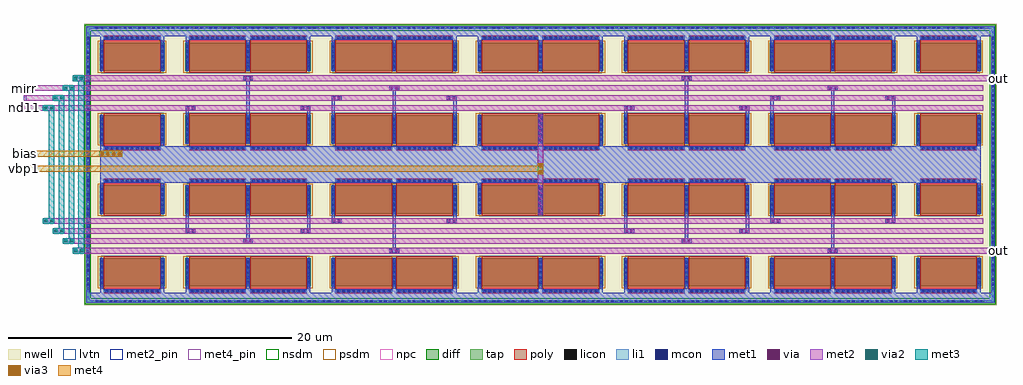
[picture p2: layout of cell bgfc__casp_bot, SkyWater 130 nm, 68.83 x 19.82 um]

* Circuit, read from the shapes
.subckt bgfc__casp_bot bias mirr nd10 nd11 out vbp1
XM1 n1 n1 n1 n1 sky130_fd_pr__pfet_01v8_lvt w=2 l=4 m=24
XM2 bias bias bias n1 sky130_fd_pr__pfet_01v8_lvt w=2 l=4 m=4
XM3 mirr bias nd10 n1 sky130_fd_pr__pfet_01v8_lvt w=2 l=4 m=8
XM4 out bias nd11 n1 sky130_fd_pr__pfet_01v8_lvt w=2 l=4 m=8
XM5 vbp1 bias bias n1 sky130_fd_pr__pfet_01v8_lvt w=2 l=4 m=4
.ends

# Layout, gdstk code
from math import pi, radians
import gdstk
lib = gdstk.Library(unit=1e-6, precision=1e-09)
def R(c, l, rs):  # rectangles x0, y0, x1, y1
    for r in rs: c.add(gdstk.rectangle(r[:2], r[2:], *l))
def A(c, l, x, y, w, h, nx, ny, dx, dy):  # array of equal rectangles
    R(c, l, [(x+i*dx, y+j*dy, x+i*dx+w, y+j*dy+h) for i in range(nx) for j in range(ny)])
nwell = (64, 20)
diff = (65, 20)
tap = (65, 44)
poly = (66, 20)
licon = (66, 44)
li1 = (67, 20)
mcon = (67, 44)
met1 = (68, 20)
via = (68, 44)
met2_pin = (69, 16)
met2 = (69, 20)
via2 = (69, 44)
met3 = (70, 20)
via3 = (70, 44)
met4_pin = (71, 16)
met4 = (71, 20)
nsdm = (93, 44)
psdm = (94, 20)
npc = (95, 20)
lvtn = (125, 44)

via__li_m1 = lib.new_cell('via__LI_M1')
R(via__li_m1, li1, [(0.03,0.03,0.56,0.2)])
R(via__li_m1, mcon, [(0.03,0.03,0.2,0.2), (0.39,0.03,0.56,0.2)])
R(via__li_m1, met1, [(0,0,0.59,0.23)])

bgfccpb__dum = lib.new_cell('bgfccpb__DUM')
R(bgfccpb__dum, nwell, [(-2.47,-1.49,2.47,1.32)])
R(bgfccpb__dum, diff, [(-2.29,-1.18,2.29,0.82)])
R(bgfccpb__dum, poly, [(-2,-1.31,2,1.305)])
A(bgfccpb__dum, licon, -2.23, -1.115, 0.17, 0.17, 1, 6, 0, 0.34)
A(bgfccpb__dum, licon, 2.06, -1.115, 0.17, 0.17, 1, 6, 0, 0.34)
A(bgfccpb__dum, licon, -1.785, 1.055, 0.17, 0.17, 11, 1, 0.34, 0)
R(bgfccpb__dum, li1, [(-2.23,-1.2,-2.06,0.84), (2.06,-1.2,2.23,0.84), (-2,1.055,2,1.225)])
A(bgfccpb__dum, mcon, -2.23, -0.985, 0.17, 0.17, 1, 5, 0, 0.36)
A(bgfccpb__dum, mcon, 2.06, -0.985, 0.17, 0.17, 1, 5, 0, 0.36)
A(bgfccpb__dum, mcon, -1.885, 1.055, 0.17, 0.17, 11, 1, 0.36, 0)
R(bgfccpb__dum, met1, [(-2.26,-1.18,-2.03,0.82), (2.03,-1.18,2.26,0.82), (-1.98,1.025,1.98,1.255)])
R(bgfccpb__dum, psdm, [(-2.415,-1.305,2.415,0.945)])
R(bgfccpb__dum, npc, [(-1.885,0.955,1.885,1.325)])
R(bgfccpb__dum, lvtn, [(-2.18,-1.36,2.18,1)])

via__m2_m3 = lib.new_cell('via__M2_M3')
R(via__m2_m3, met2, [(0,0,0.8,0.4)])
R(via__m2_m3, via2, [(0.1,0.1,0.3,0.3), (0.5,0.1,0.7,0.3)])
R(via__m2_m3, met3, [(0,0,0.8,0.4)])

via__m1_m2 = lib.new_cell('via__M1_M2')
R(via__m1_m2, met1, [(0,0.05,0.7,0.35)])
R(via__m1_m2, via, [(0.115,0.125,0.265,0.275), (0.435,0.125,0.585,0.275)])
R(via__m1_m2, met2, [(0.05,0,0.65,0.4)])

bgfccpb__m8 = lib.new_cell('bgfccpb__M8')
R(bgfccpb__m8, nwell, [(-2.47,-1.49,2.47,1.32)])
R(bgfccpb__m8, diff, [(-2.29,-1.18,2.29,0.82)])
R(bgfccpb__m8, poly, [(-2,-1.31,2,1.305)])
A(bgfccpb__m8, licon, -2.23, -1.115, 0.17, 0.17, 1, 6, 0, 0.34)
A(bgfccpb__m8, licon, 2.06, -1.115, 0.17, 0.17, 1, 6, 0, 0.34)
A(bgfccpb__m8, licon, -1.785, 1.055, 0.17, 0.17, 11, 1, 0.34, 0)
R(bgfccpb__m8, li1, [(-2.23,-1.2,-2.06,0.84), (2.06,-1.2,2.23,0.84), (-2,1.055,2,1.225)])
A(bgfccpb__m8, mcon, -2.23, -0.985, 0.17, 0.17, 1, 5, 0, 0.36)
A(bgfccpb__m8, mcon, 2.06, -0.985, 0.17, 0.17, 1, 5, 0, 0.36)
A(bgfccpb__m8, mcon, -1.885, 1.055, 0.17, 0.17, 11, 1, 0.36, 0)
R(bgfccpb__m8, met1, [(-2.26,-1.18,-2.03,0.82), (2.03,-1.18,2.26,0.82), (-1.98,1.025,1.98,1.255)])
R(bgfccpb__m8, psdm, [(-2.415,-1.305,2.415,0.945)])
R(bgfccpb__m8, npc, [(-1.885,0.955,1.885,1.325)])
R(bgfccpb__m8, lvtn, [(-2.18,-1.36,2.18,1)])

bgfccpb__m9 = lib.new_cell('bgfccpb__M9')
R(bgfccpb__m9, nwell, [(-2.47,-1.49,2.47,1.32)])
R(bgfccpb__m9, diff, [(-2.29,-1.18,2.29,0.82)])
R(bgfccpb__m9, poly, [(-2,-1.31,2,1.305)])
A(bgfccpb__m9, licon, -2.23, -1.115, 0.17, 0.17, 1, 6, 0, 0.34)
A(bgfccpb__m9, licon, 2.06, -1.115, 0.17, 0.17, 1, 6, 0, 0.34)
A(bgfccpb__m9, licon, -1.785, 1.055, 0.17, 0.17, 11, 1, 0.34, 0)
R(bgfccpb__m9, li1, [(-2.23,-1.2,-2.06,0.84), (2.06,-1.2,2.23,0.84), (-2,1.055,2,1.225)])
A(bgfccpb__m9, mcon, -2.23, -0.985, 0.17, 0.17, 1, 5, 0, 0.36)
A(bgfccpb__m9, mcon, 2.06, -0.985, 0.17, 0.17, 1, 5, 0, 0.36)
A(bgfccpb__m9, mcon, -1.885, 1.055, 0.17, 0.17, 11, 1, 0.36, 0)
R(bgfccpb__m9, met1, [(-2.26,-1.18,-2.03,0.82), (2.03,-1.18,2.26,0.82), (-1.98,1.025,1.98,1.255)])
R(bgfccpb__m9, psdm, [(-2.415,-1.305,2.415,0.945)])
R(bgfccpb__m9, npc, [(-1.885,0.955,1.885,1.325)])
R(bgfccpb__m9, lvtn, [(-2.18,-1.36,2.18,1)])

bgfccpb__mb1 = lib.new_cell('bgfccpb__MB1')
R(bgfccpb__mb1, nwell, [(-2.47,-1.49,2.47,1.32)])
R(bgfccpb__mb1, diff, [(-2.29,-1.18,2.29,0.82)])
R(bgfccpb__mb1, poly, [(-2,-1.31,2,1.305)])
A(bgfccpb__mb1, licon, -2.23, -1.115, 0.17, 0.17, 1, 6, 0, 0.34)
A(bgfccpb__mb1, licon, 2.06, -1.115, 0.17, 0.17, 1, 6, 0, 0.34)
A(bgfccpb__mb1, licon, -1.785, 1.055, 0.17, 0.17, 11, 1, 0.34, 0)
R(bgfccpb__mb1, li1, [(-2.23,-1.2,-2.06,0.84), (2.06,-1.2,2.23,0.84), (-2,1.055,2,1.225)])
A(bgfccpb__mb1, mcon, -2.23, -0.985, 0.17, 0.17, 1, 5, 0, 0.36)
A(bgfccpb__mb1, mcon, 2.06, -0.985, 0.17, 0.17, 1, 5, 0, 0.36)
A(bgfccpb__mb1, mcon, -1.885, 1.055, 0.17, 0.17, 11, 1, 0.36, 0)
R(bgfccpb__mb1, met1, [(-2.26,-1.18,-2.03,0.82), (2.03,-1.18,2.26,0.82), (-1.98,1.025,1.98,1.255)])
R(bgfccpb__mb1, psdm, [(-2.415,-1.305,2.415,0.945)])
R(bgfccpb__mb1, npc, [(-1.885,0.955,1.885,1.325)])
R(bgfccpb__mb1, lvtn, [(-2.18,-1.36,2.18,1)])

via__m3_m4 = lib.new_cell('via__M3_M4')
R(via__m3_m4, met3, [(0,0,0.8,0.4)])
R(via__m3_m4, via3, [(0.1,0.1,0.3,0.3), (0.5,0.1,0.7,0.3)])
R(via__m3_m4, met4, [(0,0,0.8,0.4)])

bgfccpb__guardring_p = lib.new_cell('bgfccpb__Guardring_P')
R(bgfccpb__guardring_p, nwell, [(2.14,-0.065,66.49,19.76)])
R(bgfccpb__guardring_p, tap, [(2.32,0.115,66.31,0.285), (2.32,0.285,2.49,19.41), (66.14,0.285,66.31,19.41), (2.32,19.41,66.31,19.58)])
A(bgfccpb__guardring_p, licon, 3.22, 0.115, 0.17, 0.17, 184, 1, 0.34, 0)
A(bgfccpb__guardring_p, licon, 2.32, 1.03, 0.17, 0.17, 1, 53, 0, 0.34)
A(bgfccpb__guardring_p, licon, 66.14, 1.03, 0.17, 0.17, 1, 53, 0, 0.34)
A(bgfccpb__guardring_p, licon, 2.88, 19.41, 0.17, 0.17, 185, 1, 0.34, 0)
R(bgfccpb__guardring_p, li1, [(2.32,0.115,66.31,0.285), (2.32,0.285,2.49,19.41), (66.14,0.285,66.31,19.41), (2.32,19.41,66.31,19.58)])
R(bgfccpb__guardring_p, nsdm, [(2.195,-0.01,66.435,0.41), (2.195,0.41,2.615,19.285), (66.015,0.41,66.435,19.285), (2.195,19.285,66.435,19.705)])

bgfc__casp_bot = lib.new_cell('bgfc__casp_bot')
A(bgfc__casp_bot, met1, 13.415, 0.815, 0.56, 0.23, 5, 2, 10.31, 17.835)
A(bgfc__casp_bot, met1, 9.29, 1.045, 0.23, 0.32, 3, 2, 4.29, 17.285)
A(bgfc__casp_bot, met1, 19.6, 1.045, 0.23, 0.32, 3, 2, 4.29, 17.285)
A(bgfc__casp_bot, met1, 29.91, 1.045, 0.23, 0.32, 3, 2, 4.29, 17.285)
A(bgfc__casp_bot, met1, 40.22, 1.045, 0.23, 0.32, 3, 2, 4.29, 17.285)
A(bgfc__casp_bot, met1, 50.53, 1.045, 0.23, 0.32, 3, 2, 4.29, 17.285)
R(bgfc__casp_bot, met1, [(2.29,0.085,66.34,0.815), (2.29,0.815,2.52,18.88), (3.27,0.815,3.665,1.045), (7.395,0.815,7.79,1.045), (9.29,0.815,9.685,1.045), (17.705,0.815,18.1,1.045), (19.6,0.815,19.995,1.045), (28.015,0.815,28.41,1.045), (29.91,0.815,30.305,1.045), (38.325,0.815,38.72,1.045), (40.22,0.815,40.615,1.045), (48.635,0.815,49.03,1.045), (50.53,0.815,50.925,1.045), (58.945,0.815,59.34,1.045), (60.84,0.815,61.235,1.045), (64.965,0.815,65.36,1.045), (66.11,0.815,66.34,18.88), (3.27,1.045,3.5,1.365), (7.56,1.045,7.79,1.365), (60.84,1.045,61.07,1.365), (65.13,1.045,65.36,1.365), (23.89,3.61,24.12,6.605), (54.82,3.61,55.05,6.605), (13.58,4.31,13.81,6.605), (44.51,4.31,44.74,6.605), (9.29,5.01,9.52,6.605), (17.87,5.01,18.1,6.605), (40.22,5.01,40.45,6.605), (48.8,5.01,49.03,6.605), (19.6,5.71,19.83,6.605), (28.18,5.71,28.41,6.605), (50.53,5.71,50.76,6.605), (59.11,5.71,59.34,6.605), (3.27,8.255,3.5,8.575), (7.56,8.255,7.79,8.575), (29.91,8.255,30.14,8.575), (38.49,8.255,38.72,8.575), (60.84,8.255,61.07,8.575), (65.13,8.255,65.36,8.575), (3.27,8.575,65.36,11.12), (3.27,11.12,3.5,11.44), (7.56,11.12,7.79,11.44), (29.91,11.12,30.14,11.44), (38.49,11.12,38.72,11.44), (60.84,11.12,61.07,11.44), (65.13,11.12,65.36,11.44), (9.29,13.09,9.52,13.985), (13.58,13.09,13.81,16.085), (17.87,13.09,18.1,13.985), (19.6,13.09,19.83,14.685), (23.89,13.09,24.12,15.385), (28.18,13.09,28.41,14.685), (40.22,13.09,40.45,13.985), (44.51,13.09,44.74,16.085), (48.8,13.09,49.03,13.985), (50.53,13.09,50.76,14.685), (54.82,13.09,55.05,15.385), (59.11,13.09,59.34,14.685), (3.27,18.33,3.5,18.65), (7.56,18.33,7.79,18.65), (60.84,18.33,61.07,18.65), (65.13,18.33,65.36,18.65), (3.27,18.65,3.665,18.88), (7.395,18.65,7.79,18.88), (9.29,18.65,9.685,18.88), (17.705,18.65,18.1,18.88), (19.6,18.65,19.995,18.88), (28.015,18.65,28.41,18.88), (29.91,18.65,30.305,18.88), (38.325,18.65,38.72,18.88), (40.22,18.65,40.615,18.88), (48.635,18.65,49.03,18.88), (50.53,18.65,50.925,18.88), (58.945,18.65,59.34,18.88), (60.84,18.65,61.235,18.88), (64.965,18.65,65.36,18.88), (2.29,18.88,66.34,19.61)])
A(bgfc__casp_bot, met2_pin, -2.135, 13.635, 0.2, 0.4, 1, 3, 0, 0.7)
R(bgfc__casp_bot, met2_pin, [(66.49,3.56,66.69,3.96), (66.49,15.735,66.69,16.135)])
A(bgfc__casp_bot, met2, -2.135, 13.635, 67.68, 0.4, 1, 3, 0, 0.7)
R(bgfc__casp_bot, met2, [(1.34,3.56,66.69,3.96), (0.64,4.26,65.545,4.66), (-0.06,4.96,65.545,5.36), (-0.76,5.66,65.545,6.06), (34.115,6.32,34.515,13.375), (3.32,10.4,4.62,10.8), (1.34,15.735,66.69,16.135)])
R(bgfc__casp_bot, met3, [(1.74,3.56,2.14,15.735), (1.04,4.26,1.44,15.035), (0.34,4.96,0.74,14.335), (-0.36,5.66,0.04,13.635)])
R(bgfc__casp_bot, met4_pin, [(-2.135,9.35,-1.935,9.75), (-2.135,10.4,-1.935,10.8)])
R(bgfc__casp_bot, met4, [(-2.135,9.35,34.515,9.75), (-2.135,10.4,3.92,10.8)])
bgfc__casp_bot.add(gdstk.Reference(via__li_m1, (3.925,0.085)))
bgfc__casp_bot.add(gdstk.Reference(via__li_m1, (2.925,0.085)))
bgfc__casp_bot.add(gdstk.Reference(via__li_m1, (2.29,1.84), rotation=3*pi/2))
bgfc__casp_bot.add(gdstk.Reference(via__li_m1, (2.29,2.84), rotation=3*pi/2))
bgfc__casp_bot.add(gdstk.Reference(bgfccpb__dum, (5.53,2.07), rotation=pi))
bgfc__casp_bot.add(gdstk.Reference(via__li_m1, (5.925,0.085)))
bgfc__casp_bot.add(gdstk.Reference(via__li_m1, (4.925,0.085)))
bgfc__casp_bot.add(gdstk.Reference(via__li_m1, (8.925,0.085)))
bgfc__casp_bot.add(gdstk.Reference(via__li_m1, (7.925,0.085)))
bgfc__casp_bot.add(gdstk.Reference(via__li_m1, (6.925,0.085)))
bgfc__casp_bot.add(gdstk.Reference(bgfccpb__dum, (11.55,2.07), rotation=pi))
bgfc__casp_bot.add(gdstk.Reference(via__li_m1, (12.925,0.085)))
bgfc__casp_bot.add(gdstk.Reference(via__li_m1, (11.925,0.085)))
bgfc__casp_bot.add(gdstk.Reference(via__li_m1, (13.925,0.085)))
bgfc__casp_bot.add(gdstk.Reference(via__li_m1, (10.925,0.085)))
bgfc__casp_bot.add(gdstk.Reference(via__li_m1, (9.925,0.085)))
bgfc__casp_bot.add(gdstk.Reference(bgfccpb__dum, (15.84,2.07), rotation=pi))
bgfc__casp_bot.add(gdstk.Reference(via__li_m1, (18.925,0.085)))
bgfc__casp_bot.add(gdstk.Reference(via__li_m1, (17.925,0.085)))
bgfc__casp_bot.add(gdstk.Reference(via__li_m1, (16.925,0.085)))
bgfc__casp_bot.add(gdstk.Reference(via__li_m1, (15.925,0.085)))
bgfc__casp_bot.add(gdstk.Reference(via__li_m1, (14.925,0.085)))
bgfc__casp_bot.add(gdstk.Reference(via__li_m1, (23.925,0.085)))
bgfc__casp_bot.add(gdstk.Reference(via__li_m1, (22.925,0.085)))
bgfc__casp_bot.add(gdstk.Reference(via__li_m1, (21.925,0.085)))
bgfc__casp_bot.add(gdstk.Reference(via__li_m1, (20.925,0.085)))
bgfc__casp_bot.add(gdstk.Reference(via__li_m1, (19.925,0.085)))
bgfc__casp_bot.add(gdstk.Reference(bgfccpb__dum, (26.15,2.07), rotation=pi))
bgfc__casp_bot.add(gdstk.Reference(bgfccpb__dum, (21.86,2.07), rotation=pi))
bgfc__casp_bot.add(gdstk.Reference(via__li_m1, (28.925,0.085)))
bgfc__casp_bot.add(gdstk.Reference(via__li_m1, (27.925,0.085)))
bgfc__casp_bot.add(gdstk.Reference(via__li_m1, (26.925,0.085)))
bgfc__casp_bot.add(gdstk.Reference(via__li_m1, (25.925,0.085)))
bgfc__casp_bot.add(gdstk.Reference(via__li_m1, (24.925,0.085)))
bgfc__casp_bot.add(gdstk.Reference(via__li_m1, (31.925,0.085)))
bgfc__casp_bot.add(gdstk.Reference(via__li_m1, (30.925,0.085)))
bgfc__casp_bot.add(gdstk.Reference(via__li_m1, (29.925,0.085)))
bgfc__casp_bot.add(gdstk.Reference(via__li_m1, (32.925,0.085)))
bgfc__casp_bot.add(gdstk.Reference(bgfccpb__dum, (32.17,2.07), rotation=pi))
bgfc__casp_bot.add(gdstk.Reference(via__li_m1, (37.925,0.085)))
bgfc__casp_bot.add(gdstk.Reference(via__li_m1, (36.925,0.085)))
bgfc__casp_bot.add(gdstk.Reference(via__li_m1, (35.925,0.085)))
bgfc__casp_bot.add(gdstk.Reference(via__li_m1, (34.925,0.085)))
bgfc__casp_bot.add(gdstk.Reference(via__li_m1, (33.925,0.085)))
bgfc__casp_bot.add(gdstk.Reference(bgfccpb__dum, (36.46,2.07), rotation=pi))
bgfc__casp_bot.add(gdstk.Reference(via__li_m1, (42.925,0.085)))
bgfc__casp_bot.add(gdstk.Reference(via__li_m1, (41.925,0.085)))
bgfc__casp_bot.add(gdstk.Reference(via__li_m1, (40.925,0.085)))
bgfc__casp_bot.add(gdstk.Reference(via__li_m1, (39.925,0.085)))
bgfc__casp_bot.add(gdstk.Reference(via__li_m1, (38.925,0.085)))
bgfc__casp_bot.add(gdstk.Reference(bgfccpb__dum, (42.48,2.07), rotation=pi))
bgfc__casp_bot.add(gdstk.Reference(via__li_m1, (47.925,0.085)))
bgfc__casp_bot.add(gdstk.Reference(via__li_m1, (46.925,0.085)))
bgfc__casp_bot.add(gdstk.Reference(via__li_m1, (45.925,0.085)))
bgfc__casp_bot.add(gdstk.Reference(via__li_m1, (44.925,0.085)))
bgfc__casp_bot.add(gdstk.Reference(via__li_m1, (43.925,0.085)))
bgfc__casp_bot.add(gdstk.Reference(bgfccpb__dum, (46.77,2.07), rotation=pi))
bgfc__casp_bot.add(gdstk.Reference(via__li_m1, (52.925,0.085)))
bgfc__casp_bot.add(gdstk.Reference(via__li_m1, (51.925,0.085)))
bgfc__casp_bot.add(gdstk.Reference(via__li_m1, (50.925,0.085)))
bgfc__casp_bot.add(gdstk.Reference(via__li_m1, (49.925,0.085)))
bgfc__casp_bot.add(gdstk.Reference(via__li_m1, (48.925,0.085)))
bgfc__casp_bot.add(gdstk.Reference(bgfccpb__dum, (52.79,2.07), rotation=pi))
bgfc__casp_bot.add(gdstk.Reference(via__li_m1, (57.925,0.085)))
bgfc__casp_bot.add(gdstk.Reference(via__li_m1, (56.925,0.085)))
bgfc__casp_bot.add(gdstk.Reference(via__li_m1, (55.925,0.085)))
bgfc__casp_bot.add(gdstk.Reference(via__li_m1, (54.925,0.085)))
bgfc__casp_bot.add(gdstk.Reference(via__li_m1, (53.925,0.085)))
bgfc__casp_bot.add(gdstk.Reference(bgfccpb__dum, (57.08,2.07), rotation=pi))
bgfc__casp_bot.add(gdstk.Reference(via__li_m1, (62.925,0.085)))
bgfc__casp_bot.add(gdstk.Reference(via__li_m1, (61.925,0.085)))
bgfc__casp_bot.add(gdstk.Reference(via__li_m1, (60.925,0.085)))
bgfc__casp_bot.add(gdstk.Reference(via__li_m1, (59.925,0.085)))
bgfc__casp_bot.add(gdstk.Reference(via__li_m1, (58.925,0.085)))
bgfc__casp_bot.add(gdstk.Reference(bgfccpb__dum, (63.1,2.07), rotation=pi))
bgfc__casp_bot.add(gdstk.Reference(via__li_m1, (64.925,0.085)))
bgfc__casp_bot.add(gdstk.Reference(via__li_m1, (63.925,0.085)))
bgfc__casp_bot.add(gdstk.Reference(via__li_m1, (66.11,1.84), rotation=3*pi/2))
bgfc__casp_bot.add(gdstk.Reference(via__li_m1, (66.11,2.84), rotation=3*pi/2))
bgfc__casp_bot.add(gdstk.Reference(via__li_m1, (2.29,3.84), rotation=3*pi/2))
bgfc__casp_bot.add(gdstk.Reference(via__li_m1, (2.29,4.84), rotation=3*pi/2))
bgfc__casp_bot.add(gdstk.Reference(via__li_m1, (2.29,5.84), rotation=3*pi/2))
bgfc__casp_bot.add(gdstk.Reference(via__m2_m3, (-0.06,4.96)))
bgfc__casp_bot.add(gdstk.Reference(via__m2_m3, (0.64,4.26)))
bgfc__casp_bot.add(gdstk.Reference(via__m2_m3, (1.34,3.56)))
bgfc__casp_bot.add(gdstk.Reference(via__m1_m2, (13.345,4.26)))
bgfc__casp_bot.add(gdstk.Reference(via__m1_m2, (9.99,4.96), rotation=pi, x_reflection=True))
bgfc__casp_bot.add(gdstk.Reference(via__m1_m2, (17.4,4.96)))
bgfc__casp_bot.add(gdstk.Reference(via__m1_m2, (23.655,3.56)))
bgfc__casp_bot.add(gdstk.Reference(via__m1_m2, (40.92,4.96), rotation=pi, x_reflection=True))
bgfc__casp_bot.add(gdstk.Reference(via__m1_m2, (44.275,4.26)))
bgfc__casp_bot.add(gdstk.Reference(via__m1_m2, (48.33,4.96)))
bgfc__casp_bot.add(gdstk.Reference(via__m1_m2, (54.585,3.56)))
bgfc__casp_bot.add(gdstk.Reference(via__li_m1, (66.11,3.84), rotation=3*pi/2))
bgfc__casp_bot.add(gdstk.Reference(via__li_m1, (66.11,4.84), rotation=3*pi/2))
bgfc__casp_bot.add(gdstk.Reference(via__li_m1, (66.11,5.84), rotation=3*pi/2))
bgfc__casp_bot.add(gdstk.Reference(via__li_m1, (2.29,6.84), rotation=3*pi/2))
bgfc__casp_bot.add(gdstk.Reference(via__li_m1, (2.29,7.84), rotation=3*pi/2))
bgfc__casp_bot.add(gdstk.Reference(via__li_m1, (2.29,8.84), rotation=3*pi/2))
bgfc__casp_bot.add(gdstk.Reference(via__m2_m3, (-0.76,5.66)))
bgfc__casp_bot.add(gdstk.Reference(bgfccpb__dum, (5.53,7.55)))
bgfc__casp_bot.add(gdstk.Reference(bgfccpb__m8, (11.55,7.55)))
bgfc__casp_bot.add(gdstk.Reference(bgfccpb__m8, (15.84,7.55)))
bgfc__casp_bot.add(gdstk.Reference(bgfccpb__m9, (21.86,7.55)))
bgfc__casp_bot.add(gdstk.Reference(via__m1_m2, (20.3,5.66), rotation=pi, x_reflection=True))
bgfc__casp_bot.add(gdstk.Reference(bgfccpb__m9, (26.15,7.55)))
bgfc__casp_bot.add(gdstk.Reference(via__m1_m2, (27.71,5.66)))
bgfc__casp_bot.add(gdstk.Reference(bgfccpb__mb1, (32.17,7.55)))
bgfc__casp_bot.add(gdstk.Reference(via__m1_m2, (34.115,6.27), rotation=pi/2, x_reflection=True))
bgfc__casp_bot.add(gdstk.Reference(via__m1_m2, (34.515,6.97), rotation=3*pi/2, x_reflection=True))
bgfc__casp_bot.add(gdstk.Reference(via__m1_m2, (34.515,7.67), rotation=3*pi/2, x_reflection=True))
bgfc__casp_bot.add(gdstk.Reference(via__m1_m2, (34.515,8.37), rotation=3*pi/2, x_reflection=True))
bgfc__casp_bot.add(gdstk.Reference(bgfccpb__mb1, (36.46,7.55)))
bgfc__casp_bot.add(gdstk.Reference(via__m1_m2, (34.115,6.97), rotation=pi/2, x_reflection=True))
bgfc__casp_bot.add(gdstk.Reference(bgfccpb__m8, (42.48,7.55)))
bgfc__casp_bot.add(gdstk.Reference(bgfccpb__m8, (46.77,7.55)))
bgfc__casp_bot.add(gdstk.Reference(bgfccpb__m9, (52.79,7.55)))
bgfc__casp_bot.add(gdstk.Reference(via__m1_m2, (51.23,5.66), rotation=pi, x_reflection=True))
bgfc__casp_bot.add(gdstk.Reference(bgfccpb__m9, (57.08,7.55)))
bgfc__casp_bot.add(gdstk.Reference(bgfccpb__dum, (63.1,7.55)))
bgfc__casp_bot.add(gdstk.Reference(via__m1_m2, (58.64,5.66)))
bgfc__casp_bot.add(gdstk.Reference(via__li_m1, (66.11,6.84), rotation=3*pi/2))
bgfc__casp_bot.add(gdstk.Reference(via__li_m1, (66.11,7.84), rotation=3*pi/2))
bgfc__casp_bot.add(gdstk.Reference(via__li_m1, (66.11,8.84), rotation=3*pi/2))
bgfc__casp_bot.add(gdstk.Reference(via__li_m1, (2.29,9.84), rotation=3*pi/2))
bgfc__casp_bot.add(gdstk.Reference(via__m2_m3, (34.515,9.15), rotation=pi/2))
bgfc__casp_bot.add(gdstk.Reference(via__m3_m4, (34.115,9.95), rotation=3*pi/2))
bgfc__casp_bot.add(gdstk.Reference(via__li_m1, (66.11,9.84), rotation=3*pi/2))
bgfc__casp_bot.add(gdstk.Reference(via__m1_m2, (4.77,10.8), rotation=pi))
bgfc__casp_bot.add(gdstk.Reference(via__m1_m2, (3.97,10.8), rotation=pi))
bgfc__casp_bot.add(gdstk.Reference(via__m2_m3, (3.22,10.4)))
bgfc__casp_bot.add(gdstk.Reference(via__m3_m4, (3.22,10.4)))
bgfc__casp_bot.add(gdstk.Reference(via__m2_m3, (4.02,10.4)))
bgfc__casp_bot.add(gdstk.Reference(via__m3_m4, (4.02,10.4)))
bgfc__casp_bot.add(gdstk.Reference(via__li_m1, (2.29,11.84), rotation=3*pi/2))
bgfc__casp_bot.add(gdstk.Reference(via__li_m1, (2.29,10.84), rotation=3*pi/2))
bgfc__casp_bot.add(gdstk.Reference(via__li_m1, (2.29,12.84), rotation=3*pi/2))
bgfc__casp_bot.add(gdstk.Reference(bgfccpb__dum, (5.53,12.145), x_reflection=True))
bgfc__casp_bot.add(gdstk.Reference(bgfccpb__m9, (11.55,12.145), x_reflection=True))
bgfc__casp_bot.add(gdstk.Reference(bgfccpb__m9, (15.84,12.145), x_reflection=True))
bgfc__casp_bot.add(gdstk.Reference(bgfccpb__m8, (21.86,12.145), x_reflection=True))
bgfc__casp_bot.add(gdstk.Reference(bgfccpb__m8, (26.15,12.145), x_reflection=True))
bgfc__casp_bot.add(gdstk.Reference(bgfccpb__mb1, (32.17,12.145), x_reflection=True))
bgfc__casp_bot.add(gdstk.Reference(bgfccpb__mb1, (36.46,12.145), x_reflection=True))
bgfc__casp_bot.add(gdstk.Reference(via__m1_m2, (34.515,12.025), rotation=3*pi/2, x_reflection=True))
bgfc__casp_bot.add(gdstk.Reference(via__m1_m2, (34.515,12.725), rotation=3*pi/2, x_reflection=True))
bgfc__casp_bot.add(gdstk.Reference(bgfccpb__m9, (42.48,12.145), x_reflection=True))
bgfc__casp_bot.add(gdstk.Reference(bgfccpb__m9, (46.77,12.145), x_reflection=True))
bgfc__casp_bot.add(gdstk.Reference(bgfccpb__m8, (52.79,12.145), x_reflection=True))
bgfc__casp_bot.add(gdstk.Reference(bgfccpb__m8, (57.08,12.145), x_reflection=True))
bgfc__casp_bot.add(gdstk.Reference(bgfccpb__dum, (63.1,12.145), x_reflection=True))
bgfc__casp_bot.add(gdstk.Reference(via__li_m1, (66.11,10.84), rotation=3*pi/2))
bgfc__casp_bot.add(gdstk.Reference(via__li_m1, (66.11,11.84), rotation=3*pi/2))
bgfc__casp_bot.add(gdstk.Reference(via__li_m1, (66.11,12.84), rotation=3*pi/2))
bgfc__casp_bot.add(gdstk.Reference(via__li_m1, (2.29,13.84), rotation=3*pi/2))
bgfc__casp_bot.add(gdstk.Reference(via__li_m1, (2.29,14.84), rotation=3*pi/2))
bgfc__casp_bot.add(gdstk.Reference(via__li_m1, (2.29,15.84), rotation=3*pi/2))
bgfc__casp_bot.add(gdstk.Reference(via__m2_m3, (-0.76,13.635)))
bgfc__casp_bot.add(gdstk.Reference(via__m2_m3, (-0.06,14.335)))
bgfc__casp_bot.add(gdstk.Reference(via__m2_m3, (0.64,15.035)))
bgfc__casp_bot.add(gdstk.Reference(via__m1_m2, (9.99,14.035), rotation=pi))
bgfc__casp_bot.add(gdstk.Reference(via__m1_m2, (17.4,14.035), x_reflection=True))
bgfc__casp_bot.add(gdstk.Reference(via__m1_m2, (24.355,15.435), rotation=pi))
bgfc__casp_bot.add(gdstk.Reference(via__m1_m2, (20.3,14.735), rotation=pi))
bgfc__casp_bot.add(gdstk.Reference(via__m1_m2, (27.71,14.735), x_reflection=True))
bgfc__casp_bot.add(gdstk.Reference(via__m1_m2, (34.515,13.425), rotation=3*pi/2, x_reflection=True))
bgfc__casp_bot.add(gdstk.Reference(via__m1_m2, (40.92,14.035), rotation=pi))
bgfc__casp_bot.add(gdstk.Reference(via__m1_m2, (48.33,14.035), x_reflection=True))
bgfc__casp_bot.add(gdstk.Reference(via__m1_m2, (51.23,14.735), rotation=pi))
bgfc__casp_bot.add(gdstk.Reference(via__m1_m2, (55.285,15.435), rotation=pi))
bgfc__casp_bot.add(gdstk.Reference(via__m1_m2, (58.64,14.735), x_reflection=True))
bgfc__casp_bot.add(gdstk.Reference(via__li_m1, (66.11,13.84), rotation=3*pi/2))
bgfc__casp_bot.add(gdstk.Reference(via__li_m1, (66.11,14.84), rotation=3*pi/2))
bgfc__casp_bot.add(gdstk.Reference(via__li_m1, (66.11,15.84), rotation=3*pi/2))
bgfc__casp_bot.add(gdstk.Reference(via__li_m1, (2.29,16.84), rotation=3*pi/2))
bgfc__casp_bot.add(gdstk.Reference(via__li_m1, (2.29,17.84), rotation=3*pi/2))
bgfc__casp_bot.add(gdstk.Reference(via__li_m1, (2.29,18.84), rotation=3*pi/2))
bgfc__casp_bot.add(gdstk.Reference(via__m2_m3, (1.34,15.735)))
bgfc__casp_bot.add(gdstk.Reference(bgfccpb__dum, (5.53,17.625), rotation=pi, x_reflection=True))
bgfc__casp_bot.add(gdstk.Reference(bgfccpb__dum, (11.55,17.625), rotation=pi, x_reflection=True))
bgfc__casp_bot.add(gdstk.Reference(bgfccpb__dum, (15.84,17.625), rotation=pi, x_reflection=True))
bgfc__casp_bot.add(gdstk.Reference(via__m1_m2, (14.045,16.135), rotation=pi))
bgfc__casp_bot.add(gdstk.Reference(bgfccpb__dum, (26.15,17.625), rotation=pi, x_reflection=True))
bgfc__casp_bot.add(gdstk.Reference(bgfccpb__dum, (21.86,17.625), rotation=pi, x_reflection=True))
bgfc__casp_bot.add(gdstk.Reference(bgfccpb__dum, (32.17,17.625), rotation=pi, x_reflection=True))
bgfc__casp_bot.add(gdstk.Reference(bgfccpb__dum, (36.46,17.625), rotation=pi, x_reflection=True))
bgfc__casp_bot.add(gdstk.Reference(bgfccpb__dum, (42.48,17.625), rotation=pi, x_reflection=True))
bgfc__casp_bot.add(gdstk.Reference(bgfccpb__dum, (46.77,17.625), rotation=pi, x_reflection=True))
bgfc__casp_bot.add(gdstk.Reference(via__m1_m2, (44.975,16.135), rotation=pi))
bgfc__casp_bot.add(gdstk.Reference(bgfccpb__dum, (52.79,17.625), rotation=pi, x_reflection=True))
bgfc__casp_bot.add(gdstk.Reference(bgfccpb__dum, (57.08,17.625), rotation=pi, x_reflection=True))
bgfc__casp_bot.add(gdstk.Reference(bgfccpb__dum, (63.1,17.625), rotation=pi, x_reflection=True))
bgfc__casp_bot.add(gdstk.Reference(via__li_m1, (66.11,16.84), rotation=3*pi/2))
bgfc__casp_bot.add(gdstk.Reference(via__li_m1, (66.11,17.84), rotation=3*pi/2))
bgfc__casp_bot.add(gdstk.Reference(via__li_m1, (66.11,18.84), rotation=3*pi/2))
bgfc__casp_bot.add(gdstk.Reference(via__li_m1, (3.925,19.38)))
bgfc__casp_bot.add(gdstk.Reference(via__li_m1, (2.925,19.38)))
bgfc__casp_bot.add(gdstk.Reference(via__li_m1, (8.925,19.38)))
bgfc__casp_bot.add(gdstk.Reference(via__li_m1, (7.925,19.38)))
bgfc__casp_bot.add(gdstk.Reference(via__li_m1, (6.925,19.38)))
bgfc__casp_bot.add(gdstk.Reference(via__li_m1, (5.925,19.38)))
bgfc__casp_bot.add(gdstk.Reference(via__li_m1, (4.925,19.38)))
bgfc__casp_bot.add(gdstk.Reference(via__li_m1, (13.925,19.38)))
bgfc__casp_bot.add(gdstk.Reference(via__li_m1, (12.925,19.38)))
bgfc__casp_bot.add(gdstk.Reference(via__li_m1, (11.925,19.38)))
bgfc__casp_bot.add(gdstk.Reference(via__li_m1, (10.925,19.38)))
bgfc__casp_bot.add(gdstk.Reference(via__li_m1, (9.925,19.38)))
bgfc__casp_bot.add(gdstk.Reference(via__li_m1, (18.925,19.38)))
bgfc__casp_bot.add(gdstk.Reference(via__li_m1, (17.925,19.38)))
bgfc__casp_bot.add(gdstk.Reference(via__li_m1, (16.925,19.38)))
bgfc__casp_bot.add(gdstk.Reference(via__li_m1, (15.925,19.38)))
bgfc__casp_bot.add(gdstk.Reference(via__li_m1, (14.925,19.38)))
bgfc__casp_bot.add(gdstk.Reference(via__li_m1, (23.925,19.38)))
bgfc__casp_bot.add(gdstk.Reference(via__li_m1, (22.925,19.38)))
bgfc__casp_bot.add(gdstk.Reference(via__li_m1, (21.925,19.38)))
bgfc__casp_bot.add(gdstk.Reference(via__li_m1, (20.925,19.38)))
bgfc__casp_bot.add(gdstk.Reference(via__li_m1, (19.925,19.38)))
bgfc__casp_bot.add(gdstk.Reference(via__li_m1, (28.925,19.38)))
bgfc__casp_bot.add(gdstk.Reference(via__li_m1, (27.925,19.38)))
bgfc__casp_bot.add(gdstk.Reference(via__li_m1, (26.925,19.38)))
bgfc__casp_bot.add(gdstk.Reference(via__li_m1, (25.925,19.38)))
bgfc__casp_bot.add(gdstk.Reference(via__li_m1, (24.925,19.38)))
bgfc__casp_bot.add(gdstk.Reference(via__li_m1, (32.925,19.38)))
bgfc__casp_bot.add(gdstk.Reference(via__li_m1, (31.925,19.38)))
bgfc__casp_bot.add(gdstk.Reference(via__li_m1, (30.925,19.38)))
bgfc__casp_bot.add(gdstk.Reference(via__li_m1, (29.925,19.38)))
bgfc__casp_bot.add(gdstk.Reference(via__li_m1, (37.925,19.38)))
bgfc__casp_bot.add(gdstk.Reference(via__li_m1, (36.925,19.38)))
bgfc__casp_bot.add(gdstk.Reference(via__li_m1, (35.925,19.38)))
bgfc__casp_bot.add(gdstk.Reference(via__li_m1, (34.925,19.38)))
bgfc__casp_bot.add(gdstk.Reference(via__li_m1, (33.925,19.38)))
bgfc__casp_bot.add(gdstk.Reference(via__li_m1, (42.925,19.38)))
bgfc__casp_bot.add(gdstk.Reference(via__li_m1, (41.925,19.38)))
bgfc__casp_bot.add(gdstk.Reference(via__li_m1, (40.925,19.38)))
bgfc__casp_bot.add(gdstk.Reference(via__li_m1, (39.925,19.38)))
bgfc__casp_bot.add(gdstk.Reference(via__li_m1, (38.925,19.38)))
bgfc__casp_bot.add(gdstk.Reference(via__li_m1, (47.925,19.38)))
bgfc__casp_bot.add(gdstk.Reference(via__li_m1, (46.925,19.38)))
bgfc__casp_bot.add(gdstk.Reference(via__li_m1, (45.925,19.38)))
bgfc__casp_bot.add(gdstk.Reference(via__li_m1, (44.925,19.38)))
bgfc__casp_bot.add(gdstk.Reference(via__li_m1, (43.925,19.38)))
bgfc__casp_bot.add(gdstk.Reference(via__li_m1, (52.925,19.38)))
bgfc__casp_bot.add(gdstk.Reference(via__li_m1, (51.925,19.38)))
bgfc__casp_bot.add(gdstk.Reference(via__li_m1, (50.925,19.38)))
bgfc__casp_bot.add(gdstk.Reference(via__li_m1, (49.925,19.38)))
bgfc__casp_bot.add(gdstk.Reference(via__li_m1, (48.925,19.38)))
bgfc__casp_bot.add(gdstk.Reference(via__li_m1, (57.925,19.38)))
bgfc__casp_bot.add(gdstk.Reference(via__li_m1, (56.925,19.38)))
bgfc__casp_bot.add(gdstk.Reference(via__li_m1, (55.925,19.38)))
bgfc__casp_bot.add(gdstk.Reference(via__li_m1, (54.925,19.38)))
bgfc__casp_bot.add(gdstk.Reference(via__li_m1, (53.925,19.38)))
bgfc__casp_bot.add(gdstk.Reference(via__li_m1, (62.925,19.38)))
bgfc__casp_bot.add(gdstk.Reference(via__li_m1, (61.925,19.38)))
bgfc__casp_bot.add(gdstk.Reference(via__li_m1, (60.925,19.38)))
bgfc__casp_bot.add(gdstk.Reference(via__li_m1, (59.925,19.38)))
bgfc__casp_bot.add(gdstk.Reference(via__li_m1, (58.925,19.38)))
bgfc__casp_bot.add(gdstk.Reference(via__li_m1, (64.925,19.38)))
bgfc__casp_bot.add(gdstk.Reference(via__li_m1, (63.925,19.38)))
bgfc__casp_bot.add(gdstk.Reference(bgfccpb__guardring_p, (0,0)))
bgfc__casp_bot.add(gdstk.Label('out', (66.59,3.76), layer=69, texttype=16))
bgfc__casp_bot.add(gdstk.Label('out', (66.59,15.935), layer=69, texttype=16))
bgfc__casp_bot.add(gdstk.Label('nd11', (-2.035,13.835), layer=69, texttype=16))
bgfc__casp_bot.add(gdstk.Label('nd10', (-2.035,14.535), layer=69, texttype=16))
bgfc__casp_bot.add(gdstk.Label('mirr', (-2.035,15.235), layer=69, texttype=16))
bgfc__casp_bot.add(gdstk.Label('bias', (-2.035,10.6), layer=71, texttype=16))
bgfc__casp_bot.add(gdstk.Label('vbp1', (-2.035,9.55), layer=71, texttype=16))

lib.write_gds('bgfc__casp_bot.gds')
